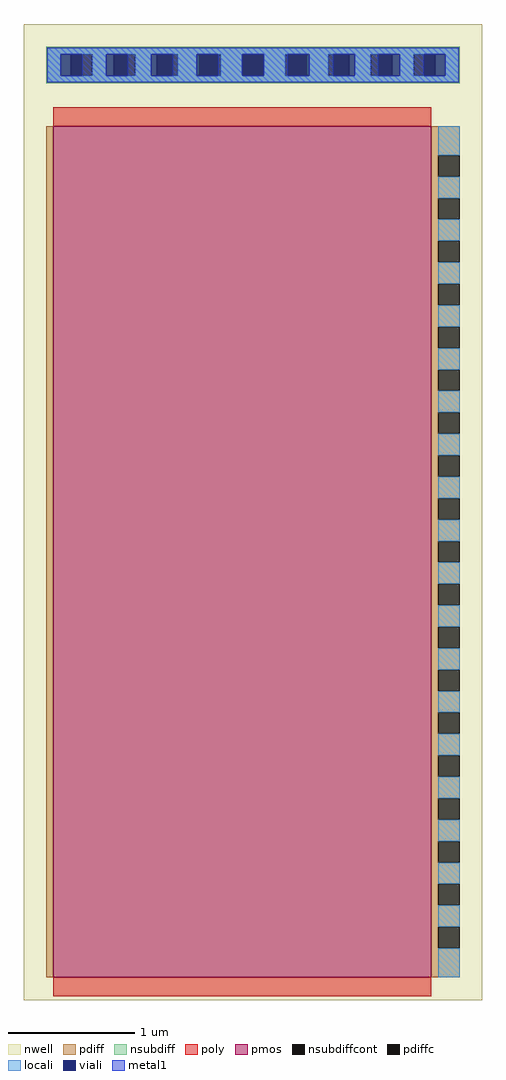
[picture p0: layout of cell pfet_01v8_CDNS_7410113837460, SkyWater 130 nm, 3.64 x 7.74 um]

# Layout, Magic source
magic
tech sky130A
magscale 1 2
<< nwell >>
rect -47 -36 681 1512
<< pmos >>
rect 0 0 600 1350
<< pdiff >>
rect -11 0 0 1350
rect 600 1304 645 1350
rect 600 1270 611 1304
rect 600 1236 645 1270
rect 600 1202 611 1236
rect 600 1168 645 1202
rect 600 1134 611 1168
rect 600 1100 645 1134
rect 600 1066 611 1100
rect 600 1032 645 1066
rect 600 998 611 1032
rect 600 964 645 998
rect 600 930 611 964
rect 600 896 645 930
rect 600 862 611 896
rect 600 828 645 862
rect 600 794 611 828
rect 600 760 645 794
rect 600 726 611 760
rect 600 692 645 726
rect 600 658 611 692
rect 600 624 645 658
rect 600 590 611 624
rect 600 556 645 590
rect 600 522 611 556
rect 600 488 645 522
rect 600 454 611 488
rect 600 420 645 454
rect 600 386 611 420
rect 600 352 645 386
rect 600 318 611 352
rect 600 284 645 318
rect 600 250 611 284
rect 600 216 645 250
rect 600 182 611 216
rect 600 148 645 182
rect 600 114 611 148
rect 600 80 645 114
rect 600 46 611 80
rect 600 0 645 46
<< pdiffc >>
rect 611 1270 645 1304
rect 611 1202 645 1236
rect 611 1134 645 1168
rect 611 1066 645 1100
rect 611 998 645 1032
rect 611 930 645 964
rect 611 862 645 896
rect 611 794 645 828
rect 611 726 645 760
rect 611 658 645 692
rect 611 590 645 624
rect 611 522 645 556
rect 611 454 645 488
rect 611 386 645 420
rect 611 318 645 352
rect 611 250 645 284
rect 611 182 645 216
rect 611 114 645 148
rect 611 46 645 80
<< nsubdiff >>
rect -11 1464 645 1476
rect -11 1430 28 1464
rect 62 1430 96 1464
rect 130 1430 164 1464
rect 198 1430 232 1464
rect 266 1430 300 1464
rect 334 1430 368 1464
rect 402 1430 436 1464
rect 470 1430 504 1464
rect 538 1430 572 1464
rect 606 1430 645 1464
rect -11 1418 645 1430
<< nsubdiffcont >>
rect 28 1430 62 1464
rect 96 1430 130 1464
rect 164 1430 198 1464
rect 232 1430 266 1464
rect 300 1430 334 1464
rect 368 1430 402 1464
rect 436 1430 470 1464
rect 504 1430 538 1464
rect 572 1430 606 1464
<< poly >>
rect 0 1350 600 1380
rect 0 -30 600 0
<< locali >>
rect -9 1464 643 1474
rect -9 1430 12 1464
rect 62 1430 84 1464
rect 130 1430 156 1464
rect 198 1430 228 1464
rect 266 1430 300 1464
rect 334 1430 368 1464
rect 406 1430 436 1464
rect 478 1430 504 1464
rect 550 1430 572 1464
rect 622 1430 643 1464
rect -9 1420 643 1430
rect 611 1304 645 1350
rect 611 1236 645 1270
rect 611 1168 645 1202
rect 611 1100 645 1134
rect 611 1032 645 1066
rect 611 964 645 998
rect 611 896 645 930
rect 611 828 645 862
rect 611 760 645 794
rect 611 692 645 726
rect 611 624 645 658
rect 611 556 645 590
rect 611 488 645 522
rect 611 420 645 454
rect 611 352 645 386
rect 611 284 645 318
rect 611 216 645 250
rect 611 148 645 182
rect 611 80 645 114
rect 611 0 645 46
<< viali >>
rect 12 1430 28 1464
rect 28 1430 46 1464
rect 84 1430 96 1464
rect 96 1430 118 1464
rect 156 1430 164 1464
rect 164 1430 190 1464
rect 228 1430 232 1464
rect 232 1430 262 1464
rect 300 1430 334 1464
rect 372 1430 402 1464
rect 402 1430 406 1464
rect 444 1430 470 1464
rect 470 1430 478 1464
rect 516 1430 538 1464
rect 538 1430 550 1464
rect 588 1430 606 1464
rect 606 1430 622 1464
<< metal1 >>
rect -9 1464 643 1474
rect -9 1430 12 1464
rect 46 1430 84 1464
rect 118 1430 156 1464
rect 190 1430 228 1464
rect 262 1430 300 1464
rect 334 1430 372 1464
rect 406 1430 444 1464
rect 478 1430 516 1464
rect 550 1430 588 1464
rect 622 1430 643 1464
rect -9 1420 643 1430
<< end >>
